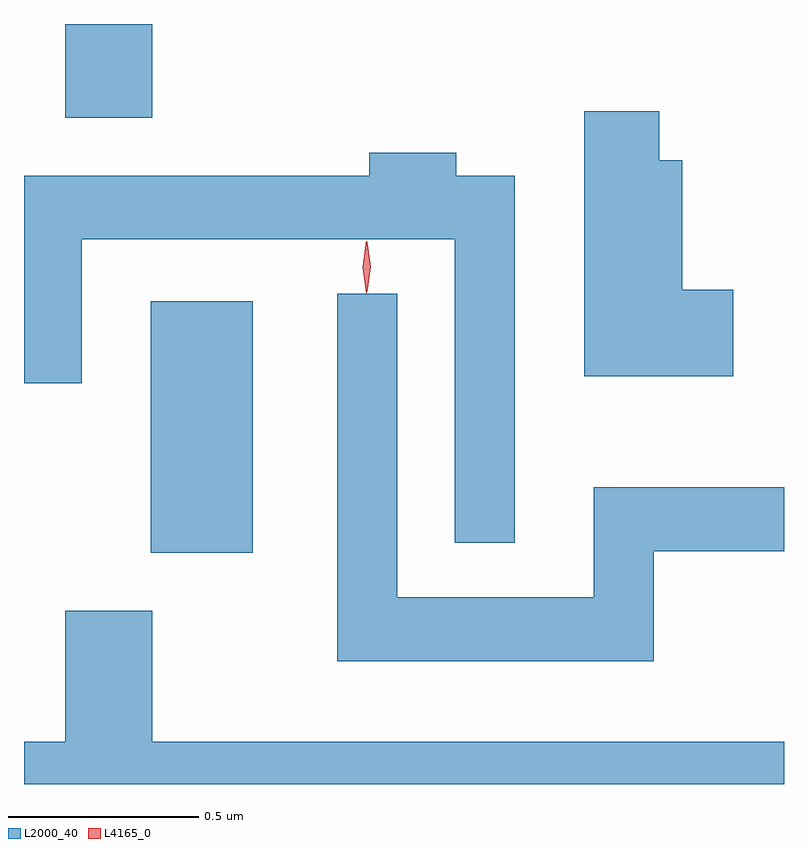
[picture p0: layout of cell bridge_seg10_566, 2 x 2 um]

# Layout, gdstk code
import gdstk
lib = gdstk.Library(unit=1e-6, precision=1e-09)
def R(c, l, rs):  # rectangles x0, y0, x1, y1
    for r in rs: c.add(gdstk.rectangle(r[:2], r[2:], *l))
def P(c, l, *ps):  # polygons
    for p in ps: c.add(gdstk.Polygon(p, *l))
L2000_40 = (2000, 40)
L4165_0 = (4165, 0)

bridge_seg10_566 = lib.new_cell('bridge_seg10_566')
R(bridge_seg10_566, L2000_40, [(782.106,2176.841,782.374,2177.504), (781.881,2177.986,782.109,2178.233)])
P(bridge_seg10_566, L2000_40, [(783.639,2177.534),(783.504,2177.534),(783.504,2177.874),(783.444,2177.874),(783.444,2178.004),(783.246,2178.004),(783.246,2177.306),(783.639,2177.306)],
  [(783.064,2177.834),(782.909,2177.834),(782.909,2177.894),(782.681,2177.894),(782.681,2177.834),(781.772,2177.834),(781.772,2177.288),(781.924,2177.288),(781.924,2177.666),(782.906,2177.666),(782.906,2176.868),(783.064,2176.868)],
  [(783.429,2176.846),(783.772,2176.846),(783.772,2177.014),(783.271,2177.014),(783.271,2176.724),(782.754,2176.724),(782.754,2177.523),(782.596,2177.523),(782.596,2176.556),(783.429,2176.556)],
  [(783.772,2176.344),(782.109,2176.344),(782.109,2176.689),(781.881,2176.689),(781.881,2176.344),(781.772,2176.344),(781.772,2176.233),(783.772,2176.233)])
P(bridge_seg10_566, L4165_0, [(782.672,2177.524),(782.663,2177.593),(782.672,2177.662),(782.673,2177.663),(782.673,2177.662),(782.683,2177.593),(782.673,2177.524),(782.673,2177.524)],
  [(782.674,2177.527),(782.674,2177.528),(782.664,2177.594),(782.674,2177.66),(782.674,2177.66),(782.675,2177.66),(782.684,2177.594),(782.675,2177.528)])

lib.write_gds('bridge_seg10_566.gds')
